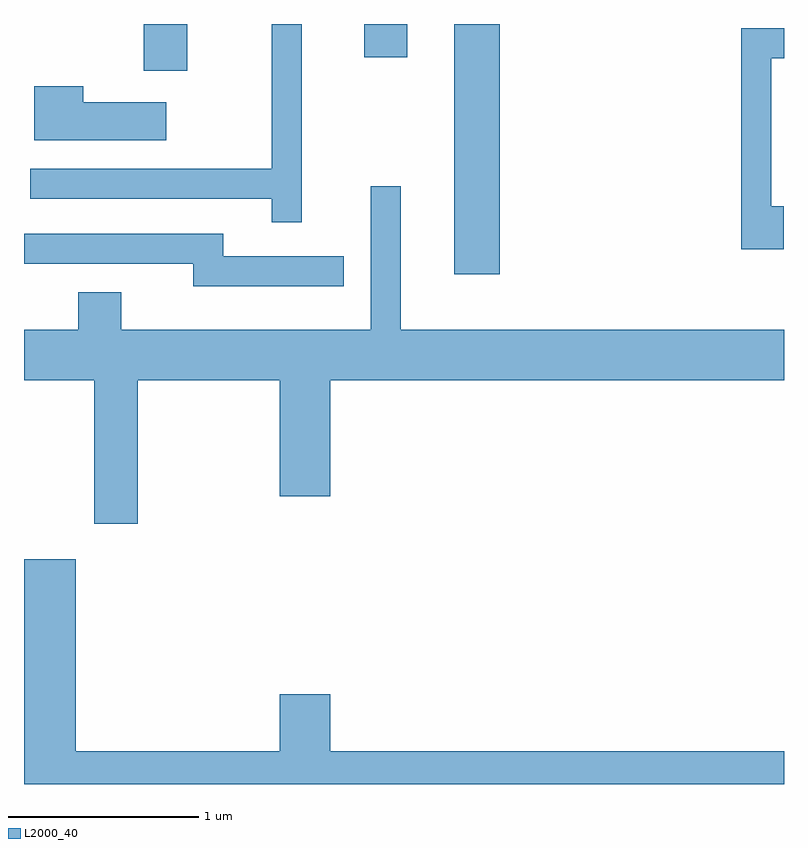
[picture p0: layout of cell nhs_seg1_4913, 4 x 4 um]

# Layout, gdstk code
import gdstk
lib = gdstk.Library(unit=1e-6, precision=1e-09)
def R(c, l, rs):  # rectangles x0, y0, x1, y1
    for r in rs: c.add(gdstk.rectangle(r[:2], r[2:], *l))
def P(c, l, *ps):  # polygons
    for p in ps: c.add(gdstk.Polygon(p, *l))
L2000_40 = (2000, 40)

nhs_seg1_4913 = lib.new_cell('nhs_seg1_4913')
R(nhs_seg1_4913, L2000_40, [(335.876,862.396,336.114,863.712), (334.241,863.466,334.469,863.712), (335.401,863.536,335.629,863.712)])
P(nhs_seg1_4913, L2000_40, [(335.074,863.712),(334.916,863.712),(334.916,862.949),(333.643,862.949),(333.643,862.791),(334.916,862.791),(334.916,862.668),(335.074,862.668)],
  [(337.609,862.754),(337.544,862.754),(337.544,863.531),(337.611,863.531),(337.611,863.689),(337.386,863.689),(337.386,862.526),(337.609,862.526)],
  [(334.359,863.299),(333.924,863.299),(333.924,863.384),(333.666,863.384),(333.666,863.101),(334.359,863.101)],
  [(334.209,861.836),(334.956,861.836),(334.956,861.226),(335.224,861.226),(335.224,861.836),(337.611,861.836),(337.611,862.104),(335.594,862.104),(335.594,862.858),(335.436,862.858),(335.436,862.104),(334.124,862.104),(334.124,862.299),(333.896,862.299),(333.896,862.104),(333.611,862.104),(333.611,861.836),(333.981,861.836),(333.981,861.081),(334.209,861.081)],
  [(335.293,862.489),(334.659,862.489),(334.659,862.609),(333.611,862.609),(333.611,862.451),(334.501,862.451),(334.501,862.331),(335.293,862.331)],
  [(337.611,859.884),(335.224,859.884),(335.224,860.184),(334.956,860.184),(334.956,859.884),(333.884,859.884),(333.884,860.894),(333.611,860.894),(333.611,859.712),(337.611,859.712)])

lib.write_gds('nhs_seg1_4913.gds')
